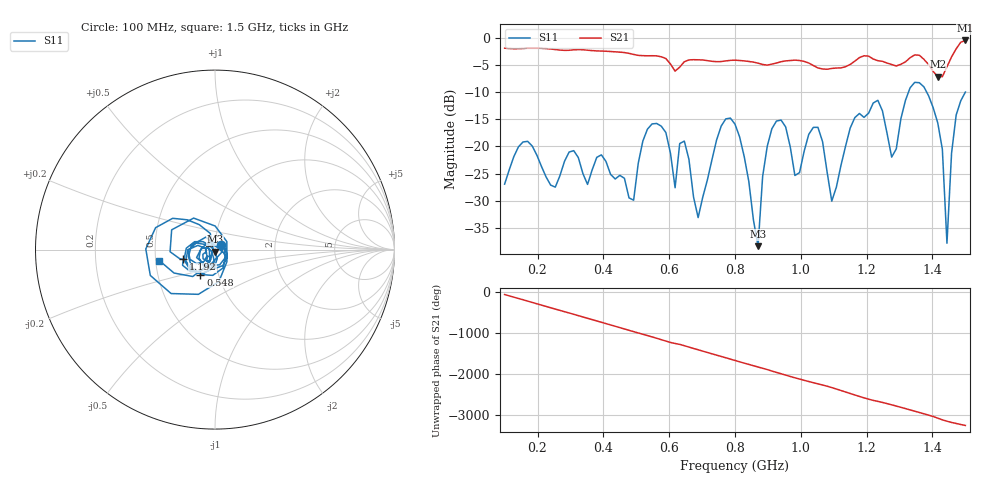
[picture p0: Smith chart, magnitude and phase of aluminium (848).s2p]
! NanoVNA-App
! Date: 2025-09-25 15:01:53
! Start: 100MHz Stop: 1,5GHz Points: 101
! S-Parameter data: F S11 S21 S12 S22
# Hz S RI R 50
!  Frequency  S11_Real  S11_Imag  S21_Real  S21_Imag  S12_Real  S12_Imag  S22_Real  S22_Imag
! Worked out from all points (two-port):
!   101 points, 100 MHz to 1.5 GHz, reference 50 ohm
!   highest |S21| = -0.50 dB at 1.5 GHz (marker M1); lowest = -7.2 dB at 1.416 GHz (marker M2)
!   |S21| within 3 dB of the highest: start of sweep to 575.6 MHz; 1.458 GHz to end of sweep (the widest 2 of 4)
!   lowest |S11| = -38.4 dB at 870 MHz (marker M3), VSWR 1.02, Z = 50 - j1.21 ohm
!   |S11| at or under -10 dB: start of sweep to 1.327 GHz; 1.382 GHz to end of sweep
!   S12 and S22 are empty: the file has one direction only
!   S11 on the Smith chart (normalised r, x): 100 MHz: 1.07, +0.06; 548 MHz: 0.82, -0.23; 1.192 GHz: 0.70, -0.08; 1.5 GHz: 0.52, -0.07
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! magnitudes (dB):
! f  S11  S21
! 100 MHz  -27.0  -1.9
! 156 MHz  -19.2  -2.0
! 338 MHz  -25.0  -2.2
! 492 MHz  -29.9  -3.1
! 548 MHz  -15.9  -3.3
! 576 MHz  -16.3  -3.5
! 618 MHz  -27.6  -6.1
! 646 MHz  -19.0  -4.4
! 688 MHz  -33.1  -4.1
! 800 MHz  -15.9  -4.1
! 870 MHz  -38.4  -4.7
! 912 MHz  -16.8  -4.9
! 982 MHz  -25.4  -4.1
! 1.038 GHz  -16.5  -5.1
! 1.094 GHz  -30.1  -5.7
! 1.192 GHz  -14.7  -3.3
! 1.276 GHz  -22.0  -4.9
! 1.346 GHz  -8.2  -3.2
! 1.416 GHz  -15.7  -7.2
! 1.444 GHz  -37.8  -5.3
! 1.472 GHz  -14.2  -2.0
! 1.5 GHz  -10.0  -0.5
